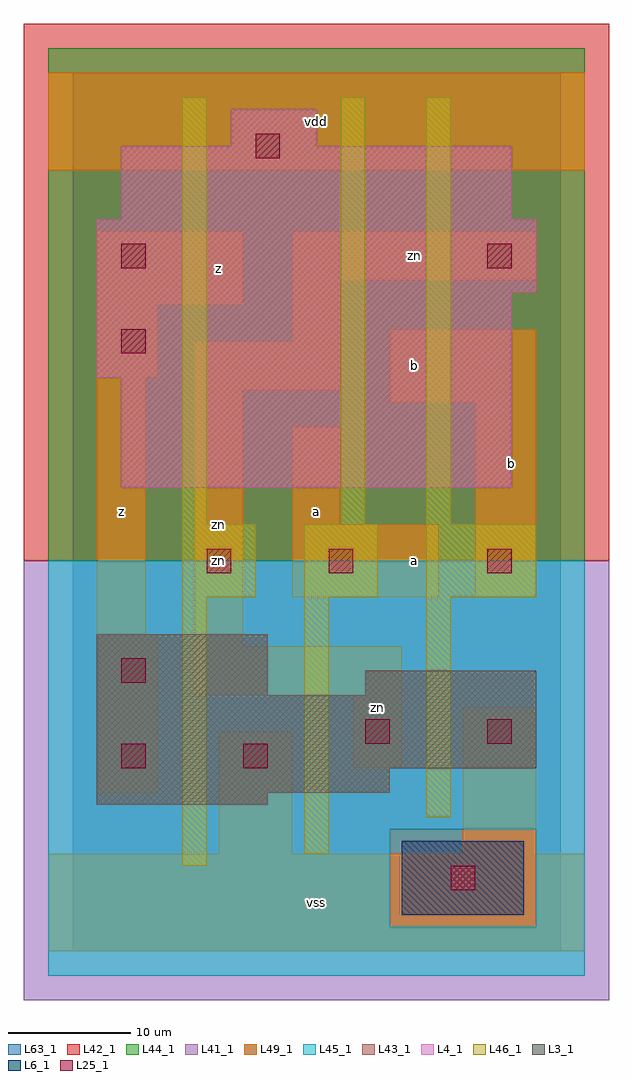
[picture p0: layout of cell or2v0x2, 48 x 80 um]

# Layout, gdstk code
import gdstk
lib = gdstk.Library(unit=1e-6, precision=1e-09)
def R(c, l, rs):  # rectangles x0, y0, x1, y1
    for r in rs: c.add(gdstk.rectangle(r[:2], r[2:], *l))
L3_1 = (3, 1)
L4_1 = (4, 1)
L6_1 = (6, 1)
L25_1 = (25, 1)
L41_1 = (41, 1)
L42_1 = (42, 1)
L43_1 = (43, 1)
L44_1 = (44, 1)
L45_1 = (45, 1)
L46_1 = (46, 1)
L49_1 = (49, 1)
L63_1 = (63, 1)

or2v0x2 = lib.new_cell('or2v0x2')
R(or2v0x2, L3_1, [(2,12,16,13), (2,13,26,15), (2,15,38,21), (2,21,16,26), (24,21,38,23)])
R(or2v0x2, L4_1, [(4,38,36,47), (2,47,36,54), (2,54,38,60), (4,60,36,66), (13,66,20,69)])
R(or2v0x2, L6_1, [(27,3,37,9), (27,3,37,9)])
R(or2v0x2, L25_1, [(31,5,33,7), (4,15,6,17), (14,15,16,17), (24,17,26,19), (34,17,36,19), (4,22,6,24), (11,31,13,33), (21,31,23,33), (34,31,36,33), (4,49,6,51), (4,56,6,58), (34,56,36,58), (15,65,17,67)])
R(or2v0x2, L41_1, [(-4,-4,44,32)])
R(or2v0x2, L42_1, [(-4,32,44,76)])
R(or2v0x2, L43_1, [(27,3,37,9), (2,12,16,13), (2,13,26,15), (2,15,38,21), (2,21,16,26), (24,21,38,23), (4,38,36,47), (2,47,36,54), (2,54,38,60), (4,60,36,66), (13,66,20,69)])
R(or2v0x2, L44_1, [(26,2,38,10), (-2,32,42,74)])
R(or2v0x2, L45_1, [(-2,-2,42,2), (-2,2,26,10), (38,2,42,10), (-2,10,42,32)])
R(or2v0x2, L46_1, [(9,7,11,29), (19,8,21,29), (29,11,31,29), (9,29,15,35), (19,29,25,35), (29,29,38,35), (9,35,11,70), (22,35,24,70), (29,35,31,70)])
R(or2v0x2, L49_1, [(-2,0,42,8), (12,8,18,18), (32,8,38,20), (2,13,7,26), (23,15,27,21), (10,21,27,25), (10,25,14,46), (2,26,6,47), (18,29,30,35), (33,29,38,45), (18,35,22,43), (26,45,38,51), (10,46,22,50), (2,47,7,53), (18,50,22,55), (2,53,14,59), (18,55,38,59), (-2,64,42,72)])
R(or2v0x2, L63_1, [(0,0,40,72)])
or2v0x2.add(gdstk.Label('zn', (12,32), layer=49, texttype=1))
or2v0x2.add(gdstk.Label('z', (4,36), layer=49, texttype=1))
or2v0x2.add(gdstk.Label('zn', (12,35), layer=49, texttype=1))
or2v0x2.add(gdstk.Label('z', (12,56), layer=49, texttype=1))
or2v0x2.add(gdstk.Label('vss', (20,4), layer=49, texttype=1))
or2v0x2.add(gdstk.Label('zn', (25,20), layer=49, texttype=1))
or2v0x2.add(gdstk.Label('a', (28,32), layer=49, texttype=1))
or2v0x2.add(gdstk.Label('a', (20,36), layer=49, texttype=1))
or2v0x2.add(gdstk.Label('b', (28,48), layer=49, texttype=1))
or2v0x2.add(gdstk.Label('vdd', (20,68), layer=49, texttype=1))
or2v0x2.add(gdstk.Label('b', (36,40), layer=49, texttype=1))
or2v0x2.add(gdstk.Label('zn', (28,57), layer=49, texttype=1))

lib.write_gds('or2v0x2.gds')
